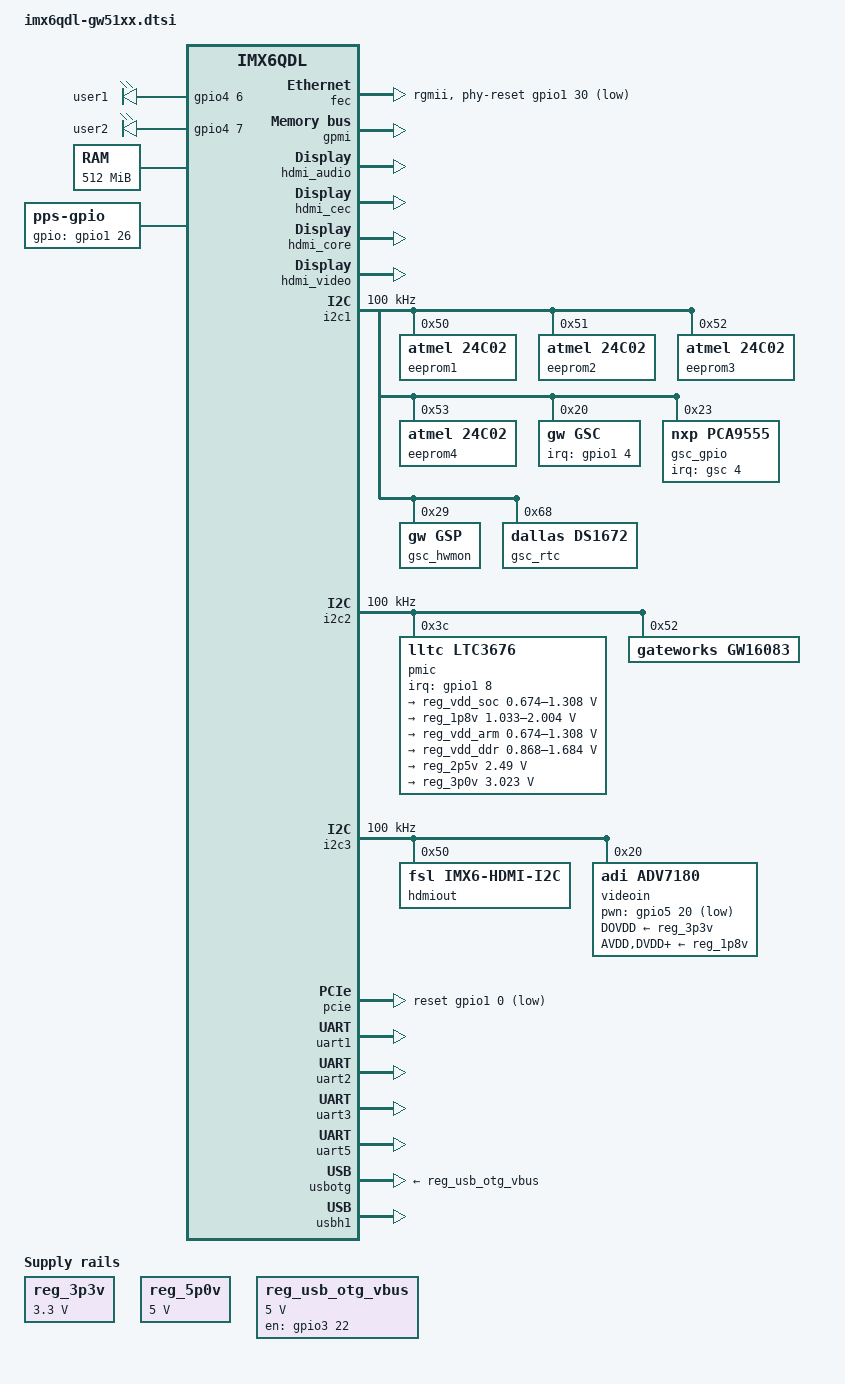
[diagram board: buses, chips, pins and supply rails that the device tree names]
/*
 * Copyright 2013-2014 Gateworks Corporation
 *
 * The code contained herein is licensed under the GNU General Public
 * License. You may obtain a copy of the GNU General Public License
 * Version 2 or later at the following locations:
 *
 * http://www.opensource.org/licenses/gpl-license.html
 * http://www.gnu.org/copyleft/gpl.html
 */

/ {
	/* these are used by bootloader for disabling nodes */
	aliases {
		ethernet0 = &fec;
		led0 = &led0;
		led1 = &led1;
		mxcfb0 = &mxcfb1;
		nand = &gpmi;
		usb0 = &usbh1;
		usb1 = &usbotg;
	};

	chosen {
		bootargs = "console=ttymxc1,115200";
	};

	leds {
		compatible = "gpio-leds";

		led0: user1 { /* MX6_PANLEDG */
			label = "user1";
			gpios = <&gpio4 6 GPIO_ACTIVE_HIGH>;
			default-state = "on";
			linux,default-trigger = "heartbeat";
		};

		led1: user2 { /* MX6_PANLEDR */
			label = "user2";
			gpios = <&gpio4 7 GPIO_ACTIVE_HIGH>;
			default-state = "off";
		};
	};

	memory {
		reg = <0x10000000 0x20000000>;
	};

	pps {
		compatible = "pps-gpio";
		gpios = <&gpio1 26 GPIO_ACTIVE_HIGH>;
		status = "okay";
	};

	regulators {
		compatible = "simple-bus";

		reg_3p3v: 3p3v {
			compatible = "regulator-fixed";
			regulator-name = "3P3V";
			regulator-min-microvolt = <3300000>;
			regulator-max-microvolt = <3300000>;
			regulator-always-on;
		};

		reg_5p0v: 5p0v {
			compatible = "regulator-fixed";
			regulator-name = "5P0V";
			regulator-min-microvolt = <5000000>;
			regulator-max-microvolt = <5000000>;
			regulator-always-on;
		};

		reg_usb_otg_vbus: usb_otg_vbus {
			compatible = "regulator-fixed";
			regulator-name = "usb_otg_vbus";
			regulator-min-microvolt = <5000000>;
			regulator-max-microvolt = <5000000>;
			gpio = <&gpio3 22 GPIO_ACTIVE_HIGH>;
			enable-active-high;
		};
	};

	sound-hdmi {
		compatible = "fsl,imx6q-audio-hdmi",
			     "fsl,imx-audio-hdmi";
		model = "imx-audio-hdmi";
		hdmi-controller = <&hdmi_audio>;
	};

	mxcfb1: fb@0 {
		/* hdmi */
		compatible = "fsl,mxc_sdc_fb";
		disp_dev = "hdmi";
		interface_pix_fmt = "RGB24";
		mode_str ="1920x1080M@60";
		default_bpp = <24>;
		int_clk = <0>;
		late_init = <0>;
		status = "okay";
	};

	cap0: v4l2_cap_0 {
		compatible = "fsl,imx6q-v4l2-capture";
		ipu_id = <0>;
		csi_id = <0>;
		mclk_source = <0>;
		status = "okay";
	};

	v4l2_out {
		compatible = "fsl,mxc_v4l2_output";
		status = "okay";
	};
};

&fec {
	pinctrl-names = "default";
	pinctrl-0 = <&pinctrl_enet_1>;
	phy-mode = "rgmii";
	phy-reset-gpios = <&gpio1 30 GPIO_ACTIVE_HIGH>;
	status = "okay";
};

&gpc {
	fsl,cpu_pupscr_sw2iso = <0xf>;
	fsl,cpu_pupscr_sw = <0xf>;
	fsl,cpu_pdnscr_iso2sw = <0x1>;
	fsl,cpu_pdnscr_iso = <0x1>;
	fsl,ldo-bypass = <0>;
};

&gpmi {
	pinctrl-names = "default";
	pinctrl-0 = <&pinctrl_gpmi_nand_2>;
	status = "okay";
};

&hdmi_audio {
	status = "okay";
};

&hdmi_cec {
	pinctrl-names = "default";
	pinctrl-0 = <&pinctrl_hdmi_cec_1>;
	status = "okay";
};

&hdmi_core {
	ipu_id = <0>;
	disp_id = <0>;
	status = "okay";
};

&hdmi_video {
	fsl,phy_reg_vlev = <0x0294>;
	fsl,phy_reg_cksymtx = <0x800d>;
	status = "okay";
};

&i2c1 {
	clock-frequency = <100000>;
	pinctrl-names = "default";
	pinctrl-0 = <&pinctrl_i2c1_1>;
	status = "okay";

	eeprom1: eeprom@50 {
		compatible = "atmel,24c02";
		reg = <0x50>;
		pagesize = <16>;
	};

	eeprom2: eeprom@51 {
		compatible = "atmel,24c02";
		reg = <0x51>;
		pagesize = <16>;
	};

	eeprom3: eeprom@52 {
		compatible = "atmel,24c02";
		reg = <0x52>;
		pagesize = <16>;
	};

	eeprom4: eeprom@53 {
		compatible = "atmel,24c02";
		reg = <0x53>;
		pagesize = <16>;
	};

	gsc: gsc@20 {
		compatible = "gw,gsc";
		reg = <0x20>;
		interrupt-parent = <&gpio1>;
		interrupts = <4 GPIO_ACTIVE_LOW>;
		interrupt-controller;
		#interrupt-cells = <1>;

		/* GSC watchdog */
		watchdog {
			compatible = "gw,gsc_wdt";
			status = "okay";
		};

		/* Linux input events from GSC interrupt events */
		input {
			compatible = "gw,gsc_input";
			interrupt-parent = <&gsc>;
			interrupts = <0 1 2 5 7>;
			interrupt-names = "button", "key-erased", "eeprom-wp", "tamper", "button-held";
			status = "okay";
		};
	};

	gsc_gpio: pca9555@23 {
		compatible = "nxp,pca9555";
		reg = <0x23>;
		gpio-controller;
		#gpio-cells = <2>;
		interrupt-parent = <&gsc>;
		interrupts = <4>;
	};

	gsc_hwmon: hwmon@29 {
		compatible = "gw,gsp";
		reg = <0x29>;
	};

	gsc_rtc: ds1672@68 {
		compatible = "dallas,ds1672";
		reg = <0x68>;
	};
};

&i2c2 {
	clock-frequency = <100000>;
	pinctrl-names = "default";
	pinctrl-0 = <&pinctrl_i2c2_2>;
	status = "okay";

	pmic: ltc3676@3c {
		compatible = "lltc,ltc3676";
		reg = <0x3c>;
		interrupt-parent = <&gpio1>;
		interrupts = <8 IRQ_TYPE_EDGE_FALLING>;

		regulators {
			/* VDD_SOC (1+R1/R2 = 1.635) */
			reg_vdd_soc: sw1 {
				regulator-name = "vddsoc";
				regulator-min-microvolt = <674400>;
				regulator-max-microvolt = <1308000>;
				lltc,fb-voltage-divider = <127000 200000>;
				regulator-ramp-delay = <7000>;
				regulator-boot-on;
				regulator-always-on;
				linux,phandle = <&reg_vdd_soc>;
			};

			/* VDD_1P8 (1+R1/R2 = 2.505): GPS/VideoIn/ENET-PHY */
			reg_1p8v: sw2 {
				regulator-name = "vdd1p8";
				regulator-min-microvolt = <1033310>;
				regulator-max-microvolt = <2004000>;
				lltc,fb-voltage-divider = <301000 200000>;
				regulator-ramp-delay = <7000>;
				regulator-boot-on;
				regulator-always-on;
			};

			/* VDD_ARM (1+R1/R2 = 1.635) */
			reg_vdd_arm: sw3 {
				regulator-name = "vddarm";
				regulator-min-microvolt = <674400>;
				regulator-max-microvolt = <1308000>;
				lltc,fb-voltage-divider = <127000 200000>;
				regulator-ramp-delay = <7000>;
				regulator-boot-on;
				regulator-always-on;
				linux,phandle = <&reg_vdd_arm>;
			};

			/* VDD_DDR (1+R1/R2 = 2.105) */
			reg_vdd_ddr: sw4 {
				regulator-name = "vddddr";
				regulator-min-microvolt = <868310>;
				regulator-max-microvolt = <1684000>;
				lltc,fb-voltage-divider = <221000 200000>;
				regulator-ramp-delay = <7000>;
				regulator-boot-on;
				regulator-always-on;
			};

			/* VDD_2P5 (1+R1/R2 = 3.435): PCIe/ENET-PHY */
			reg_2p5v: ldo2 {
				regulator-name = "vdd2p5";
				regulator-min-microvolt = <2490375>;
				regulator-max-microvolt = <2490375>;
				lltc,fb-voltage-divider = <487000 200000>;
				regulator-boot-on;
				regulator-always-on;
			};

			/* VDD_HIGH (1+R1/R2 = 4.17) */
			reg_3p0v: ldo4 {
				regulator-name = "vdd3p0";
				regulator-min-microvolt = <3023250>;
				regulator-max-microvolt = <3023250>;
				lltc,fb-voltage-divider = <634000 200000>;
				regulator-boot-on;
				regulator-always-on;
			};
		};
	};

	gw16083: gw16083@52 {
		compatible = "gateworks,gw16083";
		reg = <0x52>;
	};
};

&i2c3 {
	clock-frequency = <100000>;
	pinctrl-names = "default";
	pinctrl-0 = <&pinctrl_i2c3_2>;
	status = "okay";

	hdmiout: edid@50 {
		compatible = "fsl,imx6-hdmi-i2c";
		reg = <0x50>;
	};

	/* Analog VideoIn */
	videoin: adv7180@20 {
		compatible = "adi,adv7180";
		reg = <0x20>;
		pinctrl-names = "default";
		pinctrl-0 = <&pinctrl_ipu1_4>; /* IPU1_CSI0 no DE */
		clocks = <&clks 201>;
		clock-names = "csi_mclk";
		DOVDD-supply = <&reg_3p3v>;
		AVDD-supply = <&reg_1p8v>;
		DVDD-supply = <&reg_1p8v>;
		PVDD-supply = <&reg_1p8v>;
		pwn-gpios = <&gpio5 20 GPIO_ACTIVE_LOW>;  /* powerdown */
		/* mclk required but not used */
		mclk = <24000000>;
		mclk_source = <0>;
		ipu_id = <0>;
		csi_id = <0>;
		cvbs = <1>;
	};
};

&iomuxc {
	pinctrl-names = "default";
	pinctrl-0 = <&pinctrl_hog>;

	hog {
		pinctrl_hog: hoggrp {
			fsl,pins = <
				MX6QDL_PAD_CSI0_DATA_EN__GPIO5_IO20	0x4001b0b0 /* VIDDEC_EN */
				MX6QDL_PAD_CSI0_DAT5__GPIO5_IO23	0x0001b0b0 /* VIDDEC_IRQ# */
				MX6QDL_PAD_EIM_A19__GPIO2_IO19		0x4001b0b0 /* MEZZ_DIO0 */
				MX6QDL_PAD_EIM_A20__GPIO2_IO18		0x0001b0b0 /* MEZZ_DIO1 */
				MX6QDL_PAD_EIM_D22__GPIO3_IO22		0x0001b0b0 /* OTG_PWR_EN */
				MX6QDL_PAD_ENET_RXD1__GPIO1_IO26	0x0001b0b1 /* GPS_PPS */
				MX6QDL_PAD_ENET_TXD0__GPIO1_IO30	0x4001b0b0 /* PHY_RST# */
				MX6QDL_PAD_GPIO_0__GPIO1_IO00 		0x4001b0b0 /* PCIE_RST# */
				MX6QDL_PAD_GPIO_4__GPIO1_IO04 		0x0001b0b0 /* GSC_IRQ# */
				MX6QDL_PAD_GPIO_8__GPIO1_IO08		0x0001b0b0 /* PMIC_IRQ# */
				MX6QDL_PAD_GPIO_17__GPIO7_IO12		0x4001b0b0 /* PCIESKT_WDIS# */
				MX6QDL_PAD_KEY_COL0__GPIO4_IO06		0x0001b0b0 /* user1 led */
				MX6QDL_PAD_KEY_ROW0__GPIO4_IO07		0x0001b0b0 /* user2 led */
			 >;
		};
	};
};

&pcie {
	reset-gpio = <&gpio1 0 GPIO_ACTIVE_LOW>;
	status = "okay";
};

&pwm2 {
	pinctrl-names = "default";
	pinctrl-0 = <&pinctrl_pwm2_1>; /* MX6_DIO1 */
	status = "disabled";
};

&pwm3 {
	pinctrl-names = "default";
	pinctrl-0 = <&pinctrl_pwm3_1>; /* MX6_DIO2 */
	status = "disabled";
};

&pwm4 {
	pinctrl-names = "default";
	pinctrl-0 = <&pinctrl_pwm4_2>; /* MX6_DIO3 */
	status = "disabled";
};

&uart1 {
	pinctrl-names = "default";
	pinctrl-0 = <&pinctrl_uart1_2>;
	status = "okay";
};

&uart2 {
	pinctrl-names = "default";
	pinctrl-0 = <&pinctrl_uart2_3>;
	status = "okay";
};

&uart3 {
	pinctrl-names = "default";
	pinctrl-0 = <&pinctrl_uart3_2>;
	status = "okay";
};

&uart5 {
	pinctrl-names = "default";
	pinctrl-0 = <&pinctrl_uart5_1>;
	status = "okay";
};

&usbotg {
	vbus-supply = <&reg_usb_otg_vbus>;
	pinctrl-names = "default";
	pinctrl-0 = <&pinctrl_usbotg_1>;
	disable-over-current;
	status = "okay";
};

&usbh1 {
	status = "okay";
};
